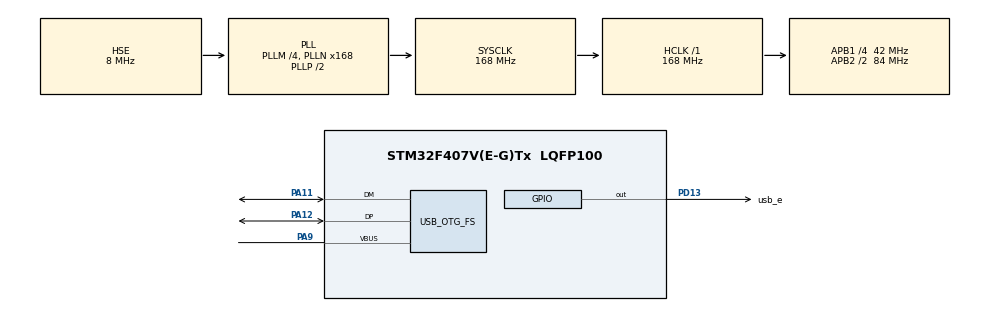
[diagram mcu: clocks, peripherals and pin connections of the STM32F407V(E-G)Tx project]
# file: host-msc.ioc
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Mcu.Family=STM32F4
Mcu.Name=STM32F407V(E-G)Tx
Mcu.Package=LQFP100
NVIC.OTG_FS_IRQn=true\:0\:0\:false\:false\:true\:false\:true
NVIC.PriorityGroup=NVIC_PRIORITYGROUP_4
PA11.Mode=Host_Only
PA11.Signal=USB_OTG_FS_DM
PA12.Mode=Host_Only
PA12.Signal=USB_OTG_FS_DP
PA13.Mode=Serial_Wire
PA13.Signal=SYS_JTMS-SWDIO
PA14.Mode=Serial_Wire
PA14.Signal=SYS_JTCK-SWCLK
PA9.Mode=Activate_VBUS
PA9.Signal=USB_OTG_FS_VBUS
PD13.GPIO_Label=usb_e
PD13.Signal=GPIO_Output
PH0-OSC_IN.Mode=HSE-External-Oscillator
PH0-OSC_IN.Signal=RCC_OSC_IN
PH1-OSC_OUT.Mode=HSE-External-Oscillator
PH1-OSC_OUT.Signal=RCC_OSC_OUT
ProjectManager.HeapSize=0x200
ProjectManager.StackSize=0x400
ProjectManager.TargetToolchain=MDK-ARM V5.27
RCC.48MHZClocksFreq_Value=48000000
RCC.AHBFreq_Value=168000000
RCC.APB1CLKDivider=RCC_HCLK_DIV4
RCC.APB1Freq_Value=42000000
RCC.APB1TimFreq_Value=84000000
RCC.APB2CLKDivider=RCC_HCLK_DIV2
RCC.APB2Freq_Value=84000000
RCC.APB2TimFreq_Value=168000000
RCC.CortexFreq_Value=168000000
RCC.HCLKFreq_Value=168000000
RCC.HSE_VALUE=8000000
RCC.HSI_VALUE=16000000
RCC.LSE_VALUE=32768
RCC.PLLM=4
RCC.PLLN=168
RCC.PLLQ=7
RCC.SYSCLKFreq_VALUE=168000000
RCC.SYSCLKSource=RCC_SYSCLKSOURCE_PLLCLK
RCC.VCOOutputFreq_Value=336000000
USB_HOST.BSP.number=1
USB_HOST.USBH_HandleTypeDef-MSC_FS=hUsbHostFS
USB_HOST.VirtualModeFS=Msc
USB_HOST0.BSP.STBoard=false
USB_HOST0.BSP.api=Unknown
USB_HOST0.BSP.i2caddr=0
USB_HOST0.BSP.instance=PD13
USB_HOST0.BSP.ip=GPIO
USB_HOST0.BSP.mode=Output
USB_HOST0.BSP.name=Drive_VBUS_FS
USB_HOST0.BSP.solution=PD13
USB_OTG_FS.VirtualMode=Host_Only
USB_OTG_FS.phy_itface=HCD_PHY_EMBEDDED
VP_FATFS_VS_USB.Mode=USB
VP_USB_HOST_VS_USB_HOST_MSC_FS.Mode=MSC_FS
board=custom

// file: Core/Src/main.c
/* USER CODE BEGIN Header */
/**
  ******************************************************************************
  * @file           : main.c
  * @brief          : Main program body
  ******************************************************************************
  * @attention
  *
  * <h2><center>&copy; Copyright (c) 2021 STMicroelectronics.
  * All rights reserved.</center></h2>
  *
  * This software component is licensed by ST under Ultimate Liberty license
  * SLA0044, the "License"; You may not use this file except in compliance with
  * the License. You may obtain a copy of the License at:
  *                             www.st.com/SLA0044
  *
  ******************************************************************************
  */
/* USER CODE END Header */
#include "main.h"
#include "fatfs.h"
#include "usb_host.h"
#include "gpio.h"

/* USER CODE BEGIN PV */
extern USBH_HandleTypeDef hUsbHostFS;
/* USER CODE END PV */

void SystemClock_Config(void);
void MX_USB_HOST_Process(void);

int main(void)
{
  /* USER CODE BEGIN 1 */
  FRESULT res;
	char str[100];
	char num = 0;
  /* USER CODE END 1 */

  /* MCU Configuration--------------------------------------------------------*/

  /* Reset of all peripherals, Initializes the Flash interface and the Systick. */
  HAL_Init();

  /* Configure the system clock */
  SystemClock_Config();

  /* Initialize all configured peripherals */
  MX_GPIO_Init();
  MX_FATFS_Init();
  MX_USB_HOST_Init();
  /* USER CODE BEGIN 2 */
	HAL_GPIO_WritePin(usb_e_GPIO_Port,usb_e_Pin,1);

  res = f_mount(&USBHFatFS, (TCHAR const*)USBHPath, 0);

	while(!USBH_MSC_IsReady(&hUsbHostFS))
	{
		MX_USB_HOST_Process();
	}
  /* USER CODE END 2 */

  /* Infinite loop */
  while (1)
  {
    MX_USB_HOST_Process();

    /* USER CODE BEGIN 3 */
        res = f_open(&USBHFile , "test.txt" , FA_OPEN_ALWAYS | FA_WRITE) ;
        if(res == FR_OK)
        {
            f_lseek(&USBHFile, f_size(&USBHFile));
            sprintf(str , "\r\nnumber = %d" , num++);
            f_printf(&USBHFile,str);
            f_close(&USBHFile);
        }
    HAL_Delay(100);
  }
  /* USER CODE END 3 */
}

void SystemClock_Config(void)
{
  RCC_OscInitTypeDef RCC_OscInitStruct = {0};
  RCC_ClkInitTypeDef RCC_ClkInitStruct = {0};

  /** Configure the main internal regulator output voltage
  */
  __HAL_RCC_PWR_CLK_ENABLE();
  __HAL_PWR_VOLTAGESCALING_CONFIG(PWR_REGULATOR_VOLTAGE_SCALE1);
  /** Initializes the RCC Oscillators according to the specified parameters
  * in the RCC_OscInitTypeDef structure.
  */
  RCC_OscInitStruct.OscillatorType = RCC_OSCILLATORTYPE_HSE;
  RCC_OscInitStruct.HSEState = RCC_HSE_ON;
  RCC_OscInitStruct.PLL.PLLState = RCC_PLL_ON;
  RCC_OscInitStruct.PLL.PLLSource = RCC_PLLSOURCE_HSE;
  RCC_OscInitStruct.PLL.PLLM = 4;
  RCC_OscInitStruct.PLL.PLLN = 168;
  RCC_OscInitStruct.PLL.PLLP = RCC_PLLP_DIV2;
  RCC_OscInitStruct.PLL.PLLQ = 7;
  if (HAL_RCC_OscConfig(&RCC_OscInitStruct) != HAL_OK)
  {
    Error_Handler();
  }
  /** Initializes the CPU, AHB and APB buses clocks
  */
  RCC_ClkInitStruct.ClockType = RCC_CLOCKTYPE_HCLK|RCC_CLOCKTYPE_SYSCLK
                              |RCC_CLOCKTYPE_PCLK1|RCC_CLOCKTYPE_PCLK2;
  RCC_ClkInitStruct.SYSCLKSource = RCC_SYSCLKSOURCE_PLLCLK;
  RCC_ClkInitStruct.AHBCLKDivider = RCC_SYSCLK_DIV1;
  RCC_ClkInitStruct.APB1CLKDivider = RCC_HCLK_DIV4;
  RCC_ClkInitStruct.APB2CLKDivider = RCC_HCLK_DIV2;

  if (HAL_RCC_ClockConfig(&RCC_ClkInitStruct, FLASH_LATENCY_5) != HAL_OK)
  {
    Error_Handler();
  }
}

void Error_Handler(void)
{
  __disable_irq();
  while (1)
  {
  }
}

/************************ (C) COPYRIGHT STMicroelectronics *****END OF FILE****/
